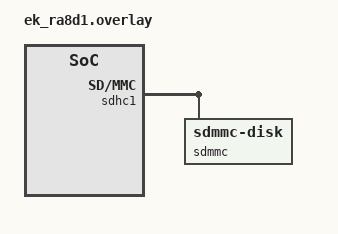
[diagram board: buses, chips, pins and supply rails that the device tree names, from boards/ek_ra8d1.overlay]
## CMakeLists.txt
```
# SPDX-License-Identifier: Apache-2.0

cmake_minimum_required(VERSION 3.28.0)
find_package(Zephyr REQUIRED HINTS $ENV{ZEPHYR_BASE})
project(sdmmc_subsys_test)

FILE(GLOB app_sources src/*.c)
target_sources(app PRIVATE ${app_sources})
target_include_directories(app PRIVATE ${ZEPHYR_BASE}/subsys/sd)
```

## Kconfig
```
# Copyright 2022 NXP
# SPDX-License-Identifier: Apache-2.0

mainmenu "SD Host controller test"

source "Kconfig.zephyr"

config SDHC_LABEL
	string "SD host controller label"
	default "SDHC_0"
	help
	  Devicetree label for SD host controller. Used to get reference to
	  device
```

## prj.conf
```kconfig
CONFIG_TEST=y
CONFIG_ZTEST=y
CONFIG_SDMMC_STACK=y
CONFIG_LOG=y
```

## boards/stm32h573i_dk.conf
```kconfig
# Copyright (c) 2026 STMicroelectronics
# SPDX-License-Identifier: Apache-2.0

CONFIG_HEAP_MEM_POOL_SIZE=2048
```

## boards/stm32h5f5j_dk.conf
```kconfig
# Copyright (c) 2026 EXALT Technologies
# SPDX-License-Identifier: Apache-2.0

CONFIG_SDHC=y
CONFIG_SDHC_STM32_DMA_MODE=y
```

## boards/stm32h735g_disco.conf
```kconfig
# Copyright (c) 2026 EXALT Technologies
# SPDX-License-Identifier: Apache-2.0

CONFIG_SDHC=y
CONFIG_SDMMC_STM32=n
CONFIG_SDHC_STM32_DMA_MODE=y
CONFIG_HEAP_MEM_POOL_SIZE=2048
```

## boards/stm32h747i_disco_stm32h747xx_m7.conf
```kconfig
# Copyright (c) 2025 EXALT Technologies.
# SPDX-License-Identifier: Apache-2.0

CONFIG_SDMMC_STM32=n
```

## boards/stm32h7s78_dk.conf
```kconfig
# Copyright (c) 2026 EXALT Technologies
# SPDX-License-Identifier: Apache-2.0

CONFIG_SDHC=y
CONFIG_SDMMC_STM32=n
CONFIG_SDHC_STM32_DMA_MODE=y
```

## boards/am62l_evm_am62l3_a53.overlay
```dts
/*
 * Copyright (c) 2026 Texas Instruments
 *
 * SPDX-License-Identifier: Apache-2.0
 */

/ {
	aliases {
		sdhc0 = &main_sdhci1;
	};
};
```

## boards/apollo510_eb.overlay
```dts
/*
 * Copyright (C) 2025 Ambiq Micro Inc. <www.ambiq.com>
 *
 * SPDX-License-Identifier: Apache-2.0
 */

/ {
	aliases {
		sdhc0 = &sdio1;
	};
};
```

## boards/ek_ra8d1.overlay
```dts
/*
 * Copyright (c) 2024 Renesas Electronics Corporation
 * SPDX-License-Identifier: Apache-2.0
 */

/ {
	aliases {
		sdhc0 = &sdhc1;
	};
};

&sdhc1 {
	compatible = "renesas,ra-sdhc";
	interrupt-names = "accs", "card", "dma-req";
	interrupts = <60 12>, <61 12>, <62 12>;
	pinctrl-0 = <&sdhc1_default>;
	pinctrl-names = "default";
	status = "okay";
	sdmmc {
		compatible = "zephyr,sdmmc-disk";
		disk-name = "SD";
		status = "okay";
	};
};
```

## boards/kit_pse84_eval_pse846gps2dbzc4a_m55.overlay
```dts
/*
 * SPDX-FileCopyrightText: <text>Copyright (c) 2026 Infineon Technologies AG,
 * or an affiliate of Infineon Technologies AG. All rights reserved.</text>
 *
 * SPDX-License-Identifier: Apache-2.0
 */

/ {
	aliases {
		sdhc0 = &sdhc1;
	};
};

&sdhc1 {
	status = "okay";
};
```

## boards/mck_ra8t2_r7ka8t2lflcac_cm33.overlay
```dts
/*
 * Copyright (c) 2026 Renesas Electronics Corporation
 * SPDX-License-Identifier: Apache-2.0
 */

&sdhc0 {
	status = "okay";

	sdmmc {
		status = "okay";
	};
};
```

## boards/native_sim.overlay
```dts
/*
 * Copyright 2026 Alif Semiconductor
 *
 * SPDX-License-Identifier: Apache-2.0
 *
 */

/ {
	aliases {
		sdhc0 = &sdhc0;
	};

	sdhc0: sdhc {
		compatible = "zephyr,sdhc-emul";
		card-type = "sdhc";
		capacity-blocks = <1024>;
		bus-width = <4>;
		max-bus-freq = <25000000>;
		voltage-330;
		card-inserted;
		status = "okay";

		sdmmc {
			compatible = "zephyr,sdmmc-disk";
			disk-name = "SD";
			status = "okay";
		};
	};
};
```

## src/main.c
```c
/*
 * Copyright 2022 NXP
 *
 * SPDX-License-Identifier: Apache-2.0
 */

#include <zephyr/kernel.h>
#include <zephyr/sd/sdmmc.h>
#include <zephyr/device.h>
#include <zephyr/drivers/disk.h>
#include <zephyr/ztest.h>


#define SECTOR_COUNT 32
#define SECTOR_SIZE 512 /* subsystem should set all cards to 512 byte blocks */
#define BUF_SIZE SECTOR_SIZE * SECTOR_COUNT
static const struct device *const sdhc_dev = DEVICE_DT_GET(DT_ALIAS(sdhc0));
static struct sd_card card;
static uint8_t buf[BUF_SIZE] __aligned(CONFIG_SDHC_BUFFER_ALIGNMENT);
static uint8_t check_buf[BUF_SIZE] __aligned(CONFIG_SDHC_BUFFER_ALIGNMENT);
static uint32_t sector_size;
static uint32_t sector_count;

#define SDMMC_UNALIGN_OFFSET 1


/*
 * Verify that SD stack can initialize an SD card
 * This test must run first, to ensure the card is initialized.
 */
ZTEST(sd_stack, test_0_init)
{
	int ret;

	zassert_true(device_is_ready(sdhc_dev), "SDHC device is not ready");

	ret = sd_is_card_present(sdhc_dev);
	zassert_equal(ret, 1, "SD card not present in slot");

	ret = sd_init(sdhc_dev, &card);
	zassert_equal(ret, 0, "Card initialization failed");
	if (!card.host_props.is_spi && card.host_props.bus_4_bit_support &&
	    (card.flags & SD_4BITS_WIDTH) != 0U) {
		zassert_equal(
			card.bus_io.bus_width, SDHC_BUS_WIDTH4BIT,
			"Card and host support 4-bit operation but initialization left 1 bit");
	}
}

/* Erase blocks 5 through 10. Blocks 4 and 11 must stay intact. */
ZTEST(sd_stack, test_erase_range)
{
	int ret;
	uint8_t erased;

	memset(buf, 0xA5, 8 * SECTOR_SIZE);
	ret = sdmmc_write_blocks(&card, buf, 4, 8);
	zassert_equal(ret, 0, "Pattern write failed");

	ret = sdmmc_erase_blocks(&card, 5, 6);
	zassert_equal(ret, 0, "Erase failed");

	memset(buf, 0, 8 * SECTOR_SIZE);
	ret = sdmmc_read_blocks(&card, buf, 4, 8);
	zassert_equal(ret, 0, "Read after erase failed");

	for (int i = 0; i < SECTOR_SIZE; i++) {
		zassert_equal(buf[i], 0xA5, "Block 4 was erased");
	}
	for (int i = 7 * SECTOR_SIZE; i < 8 * SECTOR_SIZE; i++) {
		zassert_equal(buf[i], 0xA5, "Block 11 was erased");
	}

	erased = buf[SECTOR_SIZE];
	zassert_true(erased == 0x00 || erased == 0xFF,
		     "Erased byte is 0x%02x", erased);
	for (int i = SECTOR_SIZE; i < 7 * SECTOR_SIZE; i++) {
		zassert_equal(buf[i], erased, "Erased range is not uniform");
	}
}

/* Verify that SD stack returns valid IOCTL values */
ZTEST(sd_stack, test_ioctl)
{
	int ret;

	ret = sdmmc_ioctl(&card, DISK_IOCTL_GET_SECTOR_COUNT, &sector_count);
	zassert_equal(ret, 0, "IOCTL sector count read failed");
	TC_PRINT("SD card reports sector count of %d\n", sector_count);

	ret = sdmmc_ioctl(&card, DISK_IOCTL_GET_SECTOR_SIZE, &sector_size);
	zassert_equal(ret, 0, "IOCTL sector size read failed");
	TC_PRINT("SD card reports sector size of %d\n", sector_size);
}


/* Verify that SD stack can read from an SD card */
ZTEST(sd_stack, test_read)
{
	int ret;
	int block_addr = 0;

	/* Try simple reads from start of SD card */

	ret = sdmmc_read_blocks(&card, buf, block_addr, 1);
	zassert_equal(ret, 0, "Single block card read failed");

	ret = sdmmc_read_blocks(&card, buf, block_addr, SECTOR_COUNT / 2);
	zassert_equal(ret, 0, "Multiple block card read failed");

	/* Try a series of reads from the same block */
	block_addr = sector_count / 2;
	for (int i = 0; i < 10; i++) {
		ret = sdmmc_read_blocks(&card, buf, block_addr, SECTOR_COUNT);
		zassert_equal(ret, 0, "Multiple reads from same addr failed");
	}
	/* Verify that out of bounds read fails */
	block_addr = sector_count;
	ret = sdmmc_read_blocks(&card, buf, block_addr, 1);
	zassert_not_equal(ret, 0, "Out of bounds read should fail");

	block_addr = sector_count - 2;
	ret = sdmmc_read_blocks(&card, buf, block_addr, 2);
	zassert_equal(ret, 0, "Read from end of card failed");

	/* Verify that unaligned reads work */
	block_addr = 3;
	ret = sdmmc_read_blocks(&card, buf + SDMMC_UNALIGN_OFFSET,
		block_addr, SECTOR_COUNT - 1);
	zassert_equal(ret, 0, "Unaligned read failed");
}

/* Verify that SD stack can write to an SD card */
ZTEST(sd_stack, test_write)
{
	int ret;
	int block_addr = 0;

	/* Try simple writes from start of SD card */

	ret = sdmmc_write_blocks(&card, buf, block_addr, 1);
	zassert_equal(ret, 0, "Single block card write failed");

	ret = sdmmc_write_blocks(&card, buf, block_addr, SECTOR_COUNT / 2);
	zassert_equal(ret, 0, "Multiple block card write failed");

	/* Try a series of reads from the same block */
	block_addr = sector_count / 2;
	for (int i = 0; i < 10; i++) {
		ret = sdmmc_write_blocks(&card, buf, block_addr, SECTOR_COUNT);
		zassert_equal(ret, 0, "Multiple writes to same addr failed");
	}
	/* Verify that out of bounds write fails */
	block_addr = sector_count;
	ret = sdmmc_write_blocks(&card, buf, block_addr, 1);
	zassert_not_equal(ret, 0, "Out of bounds write should fail");

	block_addr = sector_count - 2;
	ret = sdmmc_write_blocks(&card, buf, block_addr, 2);
	zassert_equal(ret, 0, "Write to end of card failed");

	/* Verify that unaligned writes work */
	block_addr = 3;
	ret = sdmmc_write_blocks(&card, buf + SDMMC_UNALIGN_OFFSET,
		block_addr, SECTOR_COUNT - 1);
	zassert_equal(ret, 0, "Unaligned write failed");
}

/* Test reads and writes interleaved, to verify data is making it on disk */
ZTEST(sd_stack, test_rw)
{
	int ret;
	int block_addr = 0;

	/* Zero the write buffer */
	memset(buf, 0, BUF_SIZE);
	memset(check_buf, 0, BUF_SIZE);
	ret = sdmmc_write_blocks(&card, buf, block_addr, SECTOR_COUNT / 2);
	zassert_equal(ret, 0, "Write to card failed");
	/* Verify that a read from this area is empty */
	ret = sdmmc_read_blocks(&card, buf, block_addr, SECTOR_COUNT / 2);
	zassert_equal(ret, 0, "Read from card failed");
	zassert_mem_equal(buf, check_buf, BUF_SIZE,
		"Read of erased area was not zero");

	/* Now write nonzero data block */
	for (int i = 0; i < sizeof(buf); i++) {
		check_buf[i] = buf[i] = (uint8_t)i;
	}

	ret = sdmmc_write_blocks(&card, buf, block_addr, SECTOR_COUNT);
	zassert_equal(ret, 0, "Write to card failed");
	/* Clear the read buffer, then write to it again */
	memset(buf, 0, BUF_SIZE);
	ret = sdmmc_read_blocks(&card, buf, block_addr, SECTOR_COUNT);
	zassert_equal(ret, 0, "Read from card failed");
	zassert_mem_equal(buf, check_buf, BUF_SIZE,
		"Read of written area was not correct");

	block_addr = (sector_count / 3);
	for (int i = 0; i < 10; i++) {
		/* Verify that unaligned writes work */
		ret = sdmmc_write_blocks(&card, buf + SDMMC_UNALIGN_OFFSET,
			block_addr, SECTOR_COUNT - 1);
		zassert_equal(ret, 0, "Write to card failed");
		/* Zero check buffer and read into it */
		memset(check_buf + SDMMC_UNALIGN_OFFSET, 0,
			(SECTOR_COUNT - 1) * sector_size);
		ret = sdmmc_read_blocks(&card, check_buf + SDMMC_UNALIGN_OFFSET,
			block_addr, (SECTOR_COUNT - 1));
		zassert_equal(ret, 0, "Read from card failed");
		zassert_mem_equal(buf + SDMMC_UNALIGN_OFFSET,
			check_buf + SDMMC_UNALIGN_OFFSET,
			(SECTOR_COUNT - 1) * sector_size,
			"Unaligned read of written area was not correct");
	}
}

/* Simply dump the card configuration. */
ZTEST(sd_stack, test_card_config)
{
	switch (card.card_voltage) {
	case SD_VOL_1_2_V:
		TC_PRINT("Card voltage: 1.2V\n");
		break;
	case SD_VOL_1_8_V:
		TC_PRINT("Card voltage: 1.8V\n");
		break;
	case SD_VOL_3_0_V:
		TC_PRINT("Card voltage: 3.0V\n");
		break;
	case SD_VOL_3_3_V:
		TC_PRINT("Card voltage: 3.3V\n");
		break;
	default:
		zassert_unreachable("Card voltage is not known value");
	}
	zassert_equal(card.status, CARD_INITIALIZED, "Card status is not OK");
	switch (card.card_speed) {
	case SD_TIMING_SDR12:
		if (card.flags & SD_1800MV_FLAG) {
			TC_PRINT("Card timing: SDR12\n");
		} else {
			/* Card uses non UHS mode timing */
			TC_PRINT("Card timing: Legacy\n");
		}
		break;
	case SD_TIMING_SDR25:
		if (card.flags & SD_1800MV_FLAG) {
			TC_PRINT("Card timing: SDR25\n");
		} else {
			/* Card uses non UHS mode timing */
			TC_PRINT("Card timing: High Speed\n");
		}
		break;
	case SD_TIMING_SDR50:
		TC_PRINT("Card timing: SDR50\n");
		zassert_true(card.flags & SD_1800MV_FLAG,
			     "Card must support UHS mode for this timing");
		break;
	case SD_TIMING_SDR104:
		TC_PRINT("Card timing: SDR104\n");
		zassert_true(card.flags & SD_1800MV_FLAG,
			     "Card must support UHS mode for this timing");
		break;
	case SD_TIMING_DDR50:
		TC_PRINT("Card timing: DDR50\n");
		zassert_true(card.flags & SD_1800MV_FLAG,
			     "Card must support UHS mode for this timing");
		break;
	default:
		zassert_unreachable("Card timing is not known value");
	}
	zassert_not_equal(card.bus_io.clock, 0, "Bus should have nonzero clock");
	TC_PRINT("Bus Frequency: %d Hz\n", card.bus_io.clock);
	switch (card.type) {
	case CARD_SDIO:
		TC_PRINT("Card type: SDIO\n");
		break;
	case CARD_SDMMC:
		TC_PRINT("Card type: SDMMC\n");
		break;
	case CARD_COMBO:
		TC_PRINT("Card type: combo card\n");
		break;
	default:
		zassert_unreachable("Card type is not known value");
	}
	if (card.sd_version >= SD_SPEC_VER3_0) {
		TC_PRINT("Card spec: 3.0\n");
	} else if (card.sd_version >= SD_SPEC_VER2_0) {
		TC_PRINT("Card spec: 2.0\n");
	} else if (card.sd_version >= SD_SPEC_VER1_1) {
		TC_PRINT("Card spec: 1.1\n");
	} else if (card.sd_version >= SD_SPEC_VER1_0) {
		TC_PRINT("Card spec: 1.0\n");
	} else {
		zassert_unreachable("Card spec is unknown value");
	}
}

/* Verify consecutive GO_IDLE_STATE commands succeed. */
ZTEST(sd_stack, test_double_reset)
{
	int ret;

	ret = sd_init(sdhc_dev, &card);
	zassert_equal(ret, 0, "Card initialization failed");

	ret = sd_init(sdhc_dev, &card);
	zassert_equal(ret, 0, "Card re-initialization failed");
}

ZTEST_SUITE(sd_stack, NULL, NULL, NULL, NULL, NULL);
```

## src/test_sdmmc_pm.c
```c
/*
 * SPDX-FileCopyrightText: Copyright (c) 2026 Espressif Systems (Shanghai) CO LTD
 * SPDX-License-Identifier: Apache-2.0
 */

#include <zephyr/kernel.h>
#include <zephyr/sd/sd.h>
#include <zephyr/sd/sdmmc.h>
#include <zephyr/drivers/disk.h>
#include <zephyr/pm/pm.h>
#include <zephyr/ztest.h>

#define PM_SECTOR_SIZE  512
#define PM_SECTOR_COUNT 16
#define PM_BUF_SIZE     (PM_SECTOR_SIZE * PM_SECTOR_COUNT)

/* Long enough for the PM policy to select a low-power state. */
#define PM_IDLE_WINDOW_MS 100

static const struct device *const pm_sdhc_dev = DEVICE_DT_GET(DT_ALIAS(sdhc0));
static struct sd_card pm_card;
static uint8_t wbuf[PM_BUF_SIZE] __aligned(CONFIG_SDHC_BUFFER_ALIGNMENT);
static uint8_t rbuf[PM_BUF_SIZE] __aligned(CONFIG_SDHC_BUFFER_ALIGNMENT);
static uint32_t pm_block_addr;

static atomic_t pm_entries;

static void pm_state_entry(enum pm_state state)
{
	ARG_UNUSED(state);

	atomic_inc(&pm_entries);
}

static struct pm_notifier pm_entry_notifier = {
	.state_entry = pm_state_entry,
};

/* Stay idle and check that the system entered a low-power state. */
static void check_low_power_entry(void)
{
	atomic_clear(&pm_entries);
	k_sleep(K_MSEC(PM_IDLE_WINDOW_MS));
	zassert_true(atomic_get(&pm_entries) > 0,
		     "System did not enter a low-power state during the idle window");
}

static void fill_pattern(uint8_t seed)
{
	for (size_t i = 0; i < sizeof(wbuf); i++) {
		wbuf[i] = (uint8_t)(i + seed);
	}
}

static void write_pattern(uint8_t seed)
{
	fill_pattern(seed);
	zassert_equal(sdmmc_write_blocks(&pm_card, wbuf, pm_block_addr, PM_SECTOR_COUNT), 0,
		      "Write failed");
}

static void read_and_check(void)
{
	memset(rbuf, 0, sizeof(rbuf));
	zassert_equal(sdmmc_read_blocks(&pm_card, rbuf, pm_block_addr, PM_SECTOR_COUNT), 0,
		      "Read failed");
	zassert_mem_equal(rbuf, wbuf, sizeof(rbuf), "Read data does not match written data");
}

static void *pm_setup(void)
{
	uint32_t sector_count;

	zassert_true(device_is_ready(pm_sdhc_dev), "SDHC device is not ready");
	zassert_equal(sd_is_card_present(pm_sdhc_dev), 1, "SD card not present in slot");
	zassert_equal(sd_init(pm_sdhc_dev, &pm_card), 0, "Card initialization failed");
	zassert_equal(sdmmc_ioctl(&pm_card, DISK_IOCTL_GET_SECTOR_COUNT, &sector_count), 0,
		      "IOCTL sector count read failed");

	pm_block_addr = sector_count / 4;

	pm_notifier_register(&pm_entry_notifier);

	return NULL;
}

static void pm_teardown(void *fixture)
{
	ARG_UNUSED(fixture);

	pm_notifier_unregister(&pm_entry_notifier);
}

/*
 * The transfer thread blocks inside the driver while it waits for the
 * controller, and the SD stack only busy-waits between commands. Any
 * low-power state entry seen here happened during a transfer.
 */
ZTEST(sd_stack_pm, test_no_low_power_during_transfer)
{
	atomic_clear(&pm_entries);

	for (int i = 0; i < 8; i++) {
		write_pattern((uint8_t)i);
		read_and_check();
	}

	zassert_equal(atomic_get(&pm_entries), 0,
		      "System entered a low-power state during a transfer");
}

/* A low-power state between commands must not lose the host configuration. */
ZTEST(sd_stack_pm, test_transfer_after_low_power)
{
	for (int cycle = 0; cycle < 3; cycle++) {
		check_low_power_entry();
		write_pattern((uint8_t)(0x40 + cycle));
		check_low_power_entry();
		read_and_check();
	}
}

/* Card init after a low-power state, then a transfer across further ones. */
ZTEST(sd_stack_pm, test_init_after_low_power)
{
	check_low_power_entry();
	zassert_equal(sd_init(pm_sdhc_dev, &pm_card), 0, "Card initialization failed");

	check_low_power_entry();
	write_pattern(0x80);
	check_low_power_entry();
	read_and_check();
}

ZTEST_SUITE(sd_stack_pm, NULL, pm_setup, NULL, NULL, pm_teardown);
```
